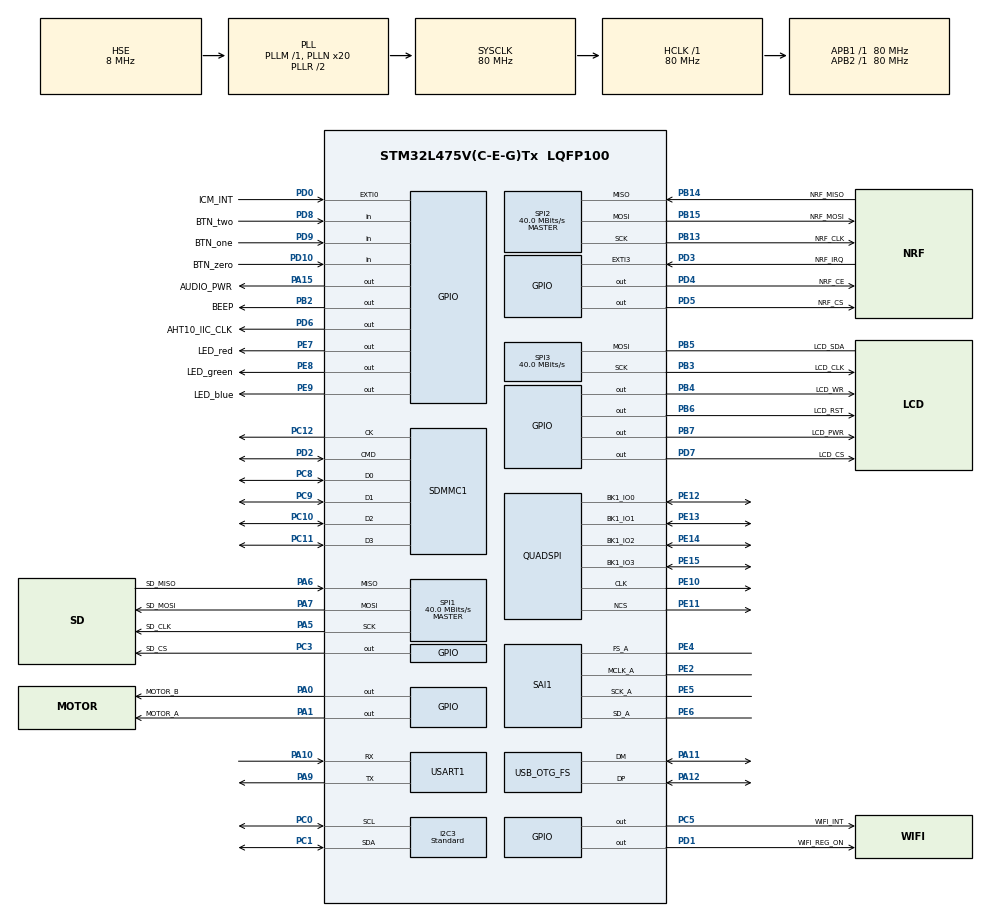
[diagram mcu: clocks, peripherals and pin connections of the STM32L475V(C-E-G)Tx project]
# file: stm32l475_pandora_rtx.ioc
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I2C3.I2C_Speed_Mode=I2C_Standard
I2C3.Timing=0x10909CEC
Mcu.Family=STM32L4
Mcu.Name=STM32L475V(C-E-G)Tx
Mcu.Package=LQFP100
NVIC.PriorityGroup=NVIC_PRIORITYGROUP_4
NVIC.TIM1_TRG_COM_TIM17_IRQn=true\:0\:0\:false\:false\:true\:false\:true
NVIC.TimeBase=TIM1_TRG_COM_TIM17_IRQn
NVIC.TimeBaseIP=TIM17
PA0.GPIO_Label=MOTOR_B
PA0.GPIO_PuPd=GPIO_PULLUP
PA0.Signal=GPIO_Output
PA1.GPIO_Label=MOTOR_A
PA1.GPIO_PuPd=GPIO_PULLUP
PA1.Signal=GPIO_Output
PA10.Mode=Asynchronous
PA10.Signal=USART1_RX
PA11.Mode=Device_Only
PA11.Signal=USB_OTG_FS_DM
PA12.Mode=Device_Only
PA12.Signal=USB_OTG_FS_DP
PA13\ (JTMS-SWDIO).Mode=Serial_Wire
PA13\ (JTMS-SWDIO).Signal=SYS_JTMS-SWDIO
PA14\ (JTCK-SWCLK).Mode=Serial_Wire
PA14\ (JTCK-SWCLK).Signal=SYS_JTCK-SWCLK
PA15\ (JTDI).GPIO_Label=AUDIO_PWR
PA15\ (JTDI).GPIO_PuPd=GPIO_PULLUP
PA15\ (JTDI).Signal=GPIO_Output
PA5.GPIO_Label=SD_CLK
PA5.Mode=Full_Duplex_Master
PA5.Signal=SPI1_SCK
PA6.GPIO_Label=SD_MISO
PA6.Mode=Full_Duplex_Master
PA6.Signal=SPI1_MISO
PA7.GPIO_Label=SD_MOSI
PA7.Mode=Full_Duplex_Master
PA7.Signal=SPI1_MOSI
PA9.Mode=Asynchronous
PA9.Signal=USART1_TX
PB13.GPIO_Label=NRF_CLK
PB13.GPIO_PuPd=GPIO_PULLUP
PB13.Mode=Full_Duplex_Master
PB13.Signal=SPI2_SCK
PB14.GPIO_Label=NRF_MISO
PB14.GPIO_PuPd=GPIO_PULLUP
PB14.Mode=Full_Duplex_Master
PB14.Signal=SPI2_MISO
PB15.GPIO_Label=NRF_MOSI
PB15.GPIO_PuPd=GPIO_PULLUP
PB15.Mode=Full_Duplex_Master
PB15.Signal=SPI2_MOSI
PB2.GPIO_Label=BEEP
PB2.GPIO_PuPd=GPIO_PULLUP
PB2.Signal=GPIO_Output
PB3\ (JTDO-TRACESWO).GPIO_Label=LCD_CLK
PB3\ (JTDO-TRACESWO).Mode=Simplex_Bidirectional_Master
PB3\ (JTDO-TRACESWO).Signal=SPI3_SCK
PB4\ (NJTRST).GPIO_Label=LCD_WR
PB4\ (NJTRST).GPIO_PuPd=GPIO_PULLUP
PB4\ (NJTRST).Signal=GPIO_Output
PB5.GPIO_Label=LCD_SDA
PB5.Mode=Simplex_Bidirectional_Master
PB5.Signal=SPI3_MOSI
PB6.GPIO_Label=LCD_RST
PB6.GPIO_PuPd=GPIO_PULLUP
PB6.Signal=GPIO_Output
PB7.GPIO_Label=LCD_PWR
PB7.GPIO_PuPd=GPIO_PULLUP
PB7.Signal=GPIO_Output
PC0.Mode=I2C
PC0.Signal=I2C3_SCL
PC1.Mode=I2C
PC1.Signal=I2C3_SDA
PC10.Mode=SD_4_bits_Wide_bus
PC10.Signal=SDMMC1_D2
PC11.Mode=SD_4_bits_Wide_bus
PC11.Signal=SDMMC1_D3
PC12.Mode=SD_4_bits_Wide_bus
PC12.Signal=SDMMC1_CK
PC13.Mode=SYS_WakeUp1
PC13.Signal=SYS_WKUP2
PC14-OSC32_IN\ (PC14).Mode=LSE-External-Oscillator
PC14-OSC32_IN\ (PC14).Signal=RCC_OSC32_IN
PC15-OSC32_OUT\ (PC15).Mode=LSE-External-Oscillator
PC15-OSC32_OUT\ (PC15).Signal=RCC_OSC32_OUT
PC3.GPIO_Label=SD_CS
PC3.GPIO_PuPd=GPIO_PULLUP
PC3.PinState=GPIO_PIN_SET
PC3.Signal=GPIO_Output
PC5.GPIO_Label=WIFI_INT
PC5.GPIO_PuPd=GPIO_PULLUP
PC5.Signal=GPIO_Output
PC8.Mode=SD_4_bits_Wide_bus
PC8.Signal=SDMMC1_D0
PC9.Mode=SD_4_bits_Wide_bus
PC9.Signal=SDMMC1_D1
PD0.GPIO_Label=ICM_INT
PD0.GPIO_PuPd=GPIO_PULLUP
PD0.Signal=GPXTI0
PD1.GPIO_Label=WIFI_REG_ON
PD1.Signal=GPIO_Output
PD10.GPIO_Label=BTN_zero
PD10.GPIO_PuPd=GPIO_PULLUP
PD10.Signal=GPIO_Input
PD2.Mode=SD_4_bits_Wide_bus
PD2.Signal=SDMMC1_CMD
PD3.GPIO_Label=NRF_IRQ
PD3.GPIO_ModeDefaultEXTI=GPIO_MODE_IT_FALLING
PD3.GPIO_PuPd=GPIO_PULLUP
PD3.Signal=GPXTI3
PD4.GPIO_Label=NRF_CE
PD4.Signal=GPIO_Output
PD5.GPIO_Label=NRF_CS
PD5.GPIO_PuPd=GPIO_PULLUP
PD5.PinState=GPIO_PIN_SET
PD5.Signal=GPIO_Output
PD6.GPIO_Label=AHT10_IIC_CLK
PD6.GPIO_PuPd=GPIO_PULLUP
PD6.GPIO_Speed=GPIO_SPEED_FREQ_VERY_HIGH
PD6.PinState=GPIO_PIN_SET
PD6.Signal=GPIO_Output
PD7.GPIO_Label=LCD_CS
PD7.GPIO_PuPd=GPIO_PULLUP
PD7.PinState=GPIO_PIN_SET
PD7.Signal=GPIO_Output
PD8.GPIO_Label=BTN_two
PD8.GPIO_PuPd=GPIO_PULLUP
PD8.Signal=GPIO_Input
PD9.GPIO_Label=BTN_one
PD9.GPIO_PuPd=GPIO_PULLUP
PD9.Signal=GPIO_Input
PE10.Mode=Single Bank
PE10.Signal=QUADSPI_CLK
PE11.Mode=Single Bank
PE11.Signal=QUADSPI_NCS
PE12.Mode=Single Bank
PE12.Signal=QUADSPI_BK1_IO0
PE13.Mode=Single Bank
PE13.Signal=QUADSPI_BK1_IO1
PE14.Mode=Single Bank
PE14.Signal=QUADSPI_BK1_IO2
PE15.Mode=Single Bank
PE15.Signal=QUADSPI_BK1_IO3
PE2.Mode=SAI_A_MasterWithClock
PE2.Signal=SAI1_MCLK_A
PE4.Mode=SAI_A_MasterWithClock
PE4.Signal=SAI1_FS_A
PE5.Mode=SAI_A_MasterWithClock
PE5.Signal=SAI1_SCK_A
PE6.Mode=SAI_A_MasterWithClock
PE6.Signal=SAI1_SD_A
PE7.GPIO_Label=LED_red
PE7.GPIO_PuPd=GPIO_PULLUP
PE7.PinState=GPIO_PIN_SET
PE7.Signal=GPIO_Output
PE8.GPIO_Label=LED_green
PE8.GPIO_ModeDefaultOutputPP=GPIO_MODE_OUTPUT_PP
PE8.GPIO_PuPd=GPIO_PULLUP
PE8.PinState=GPIO_PIN_SET
PE8.Signal=GPIO_Output
PE9.GPIO_Label=LED_blue
PE9.GPIO_PuPd=GPIO_PULLUP
PE9.PinState=GPIO_PIN_SET
PE9.Signal=GPIO_Output
PH0-OSC_IN\ (PH0).Mode=HSE-External-Oscillator
PH0-OSC_IN\ (PH0).Signal=RCC_OSC_IN
PH1-OSC_OUT\ (PH1).Mode=HSE-External-Oscillator
PH1-OSC_OUT\ (PH1).Signal=RCC_OSC_OUT
ProjectManager.HeapSize=0x200
ProjectManager.StackSize=0x400
ProjectManager.TargetToolchain=MDK-ARM V5.27
RCC.ADCFreq_Value=48000000
RCC.AHBFreq_Value=80000000
RCC.APB1Freq_Value=80000000
RCC.APB1TimFreq_Value=80000000
RCC.APB2Freq_Value=80000000
RCC.APB2TimFreq_Value=80000000
RCC.CortexFreq_Value=80000000
RCC.HCLKFreq_Value=80000000
RCC.HSE_VALUE=8000000
RCC.HSI_VALUE=16000000
RCC.MSI_VALUE=4000000
RCC.PLLN=20
RCC.PLLSAI1N=12
RCC.PLLSourceVirtual=RCC_PLLSOURCE_HSE
RCC.SYSCLKFreq_VALUE=80000000
RCC.SYSCLKSource=RCC_SYSCLKSOURCE_PLLCLK
RCC.USBFreq_Value=48000000
RCC.VCOOutputFreq_Value=160000000
SAI1.ErrorAudioFreq-SAI_A_MasterWithClock=-81.39 %
SAI1.Instance-SAI_A_MasterWithClock=SAI$Index_Block_A
SAI1.MClockEnable-SAI_A_MasterWithClock=SAI_MASTERCLOCK_ENABLE
SAI1.RealAudioFreq-SAI_A_MasterWithClock=35.714 KHz
SAI1.VirtualMode-SAI_A_MasterWithClock=VM_MASTER
SPI1.CalculateBaudRate=40.0 MBits/s
SPI1.Direction=SPI_DIRECTION_2LINES
SPI1.Mode=SPI_MODE_MASTER
SPI1.VirtualType=VM_MASTER
SPI2.CalculateBaudRate=40.0 MBits/s
SPI2.Direction=SPI_DIRECTION_2LINES
SPI2.Mode=SPI_MODE_MASTER
SPI2.VirtualType=VM_MASTER
SPI3.CalculateBaudRate=40.0 MBits/s
SPI3.Direction=SPI_DIRECTION_1LINE
SPI3.Mode=SPI_MODE_MASTER
SPI3.VirtualType=VM_MASTER
USART1.VirtualMode-Asynchronous=VM_ASYNC
USB_OTG_FS.VirtualMode=Device_Only
VP_SYS_VS_tim17.Mode=TIM17
board=custom

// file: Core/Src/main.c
/* USER CODE BEGIN Header */
/**
  ******************************************************************************
  * @file           : main.c
  * @brief          : Main program body
  ******************************************************************************
  * @attention
  *
  * <h2><center>&copy; Copyright (c) 2021 STMicroelectronics.
  * All rights reserved.</center></h2>
  *
  * This software component is licensed by ST under BSD 3-Clause license,
  * the "License"; You may not use this file except in compliance with the
  * License. You may obtain a copy of the License at:
  *                        opensource.org/licenses/BSD-3-Clause
  *
  ******************************************************************************
  */
/* USER CODE END Header */
#include "main.h"
#include "i2c.h"
#include "quadspi.h"
#include "sai.h"
#include "sdmmc.h"
#include "spi.h"
#include "usart.h"
#include "usb_otg.h"
#include "gpio.h"

/* USER CODE BEGIN Includes */
#include "config.h"
#include "cmsis_os2.h"
#include "aht10.h"
#include "st7789v2.h"

#include "lvgl.h"
#include "tft_lvgl_layer.h"
#include "gui.h"
#include "lv_example_style.h"
#include "lv_example_get_started.h"
#include "lv_example_widgets.h"

#include <string.h>
#include <stdlib.h>
#include <stdio.h>
/* USER CODE END Includes */

/* USER CODE BEGIN PV */
static osMessageQueueId_t th2gui_msg_id;
/* USER CODE END PV */

void SystemClock_Config(void);
/* USER CODE BEGIN PFP */
void HAL_init_systick_for_RTX(void);
/* USER CODE END PFP */

/* USER CODE BEGIN 0 */
void led_blink_task(void *argv)
{
    (void)(argv);
	while (1) {
		HAL_GPIO_WritePin(LED_red_GPIO_Port, LED_red_Pin, GPIO_PIN_RESET);
		osDelay(500);
		HAL_GPIO_WritePin(LED_red_GPIO_Port, LED_red_Pin, GPIO_PIN_SET);
		osDelay(500);
	}
}

void temp_humi_smaple_task(void *argv)
{
    (void)(argv);
    uint16_t msg[2] = {0};
	aht10_t aht10;

	// Wait sensor start work
	osDelay(2000);

	aht10_init(&aht10);

	while (1) {
        // Smaple period
        osDelay(1000);
		aht10_get_value(&aht10);

        // Put data to message queue
        msg[0] = aht10.temp;
        msg[1] = aht10.humi;
        if (msg[0] == 0 || msg[1] == 0)
           osThreadYield();
        osStatus_t res = osMessageQueuePut(th2gui_msg_id, msg, 0, 0);
        if (res != osOK) {
            __nop();
        }
        osThreadYield();
	}
}

void lcd_display_task(void *argv)
{
    st7789_init();
    for ( ;; ) {
        st7789_fill_color(COLOR_BLUE);
        osDelay(1000);
        st7789_fill_color(COLOR_BRED);
        osDelay(1000);
        st7789_fill_color(COLOR_CYAN);
        osDelay(1000);
    }
}

void gui_task(void *argv)
{
    (void)(argv);
    lv_obj_t *lb_temp, *lb_humi;
    lv_obj_t *img_temp, *img_humi;
    osStatus_t status;
    uint16_t msg[2] = {0};

    lv_init();
    tft_lvgl_layer_init();

    gui_draw_temp_humi_icon_img(&img_temp, &img_humi);
    gui_set_temp_humi_val_lb(&lb_temp, img_temp, &lb_humi, img_humi);

    for (;;)
    {
        status = osMessageQueueGet(th2gui_msg_id, msg, NULL, 5);
        if (status == osOK) {
            gui_temp_humi_val_update(lb_temp, lb_humi, msg);
        }
        lv_task_handler();
    }
}
/* USER CODE END 0 */

int main(void)
{

  /* MCU Configuration--------------------------------------------------------*/

  /* Reset of all peripherals, Initializes the Flash interface and the Systick. */
  HAL_Init();

  /* Configure the system clock */
  SystemClock_Config();

  /* Initialize all configured peripherals */
  MX_GPIO_Init();
  MX_I2C3_Init();
  MX_QUADSPI_Init();
  MX_SAI1_Init();
  MX_SDMMC1_SD_Init();
  MX_SPI1_Init();
  MX_SPI2_Init();
  MX_SPI3_Init();
  MX_USART1_UART_Init();
  MX_USB_OTG_FS_PCD_Init();
  /* USER CODE BEGIN 2 */

  // HAL_init_systick_for_RTX();

#if TEST_RTX_RTOS == 1
  // Initialize CMSIS-RTOS
  osKernelInitialize();

  // Create message queue for GUI and temperature and humidy smaple task
  th2gui_msg_id = osMessageQueueNew(2, 2*sizeof(uint16_t), NULL);
  if (th2gui_msg_id == NULL) {
      for (;;);
  }
  // Create tasks
  osThreadNew(led_blink_task, NULL, NULL);

  osThreadNew(temp_humi_smaple_task, NULL, NULL);
//   osTimerId_t th_timer_id = osTimerNew(temp_humi_smaple_task, osTimerPeriodic, (void *)th2gui_msg_id, NULL);
//   if (th_timer_id != NULL) {
//       if (osTimerStart(th_timer_id, 500) != osOK) {
//           for (;;) ;
//       }
//   }

#if TEST_ST7789_DRIVER == 1
  osThreadNew(lcd_display_task, NULL, NULL);
#endif

#if TEST_LVGL_LIB == 1
  osThreadNew(gui_task, NULL, NULL);
#endif

  // Start task excution
  osKernelStart();

#endif

  /* USER CODE END 2 */

  /* Infinite loop */
  /* USER CODE BEGIN WHILE */

#if TEST_ST7789_DRIVER == 1
  st7789_init();
#endif

#if (TEST_LVGL_LIB == 1) && (TEST_RTX_RTOS == 0)
    lv_init();
    tft_lvgl_layer_init();
    lv_example_get_started_1();
    lv_example_get_started_3();
#endif

  while (1)
  {
    /* USER CODE END WHILE */
#if TEST_ST7789_DRIVER == 1
        st7789_fill_color(COLOR_BLUE);
        HAL_Delay(50);
        st7789_fill_color(COLOR_BRED);
        HAL_Delay(50);
        st7789_fill_color(COLOR_CYAN);
        HAL_Delay(50);
        st7789_fill_color(COLOR_YELLOW);
        HAL_Delay(50);
        st7789_draw_line(50, 70, 200, 70);
        st7789_draw_line(10, 70, 10, 120);
        st7789_draw_line(100, 20, 120, 50);
        st7789_draw_rectangle(50, 80, 200, 160);
        st7789_draw_line(50, 80, 200, 160);
        st7789_draw_line(50, 160, 200, 80);
        for (int i = 0; i < 20; ++i)
            st7789_draw_point(200+i, 200, COLOR_GBLUE);
        HAL_Delay(1000);
#endif
#if (TEST_LVGL_LIB == 1) && (TEST_RTX_RTOS == 0)
      HAL_Delay(2);
      lv_task_handler();
#endif
  }
}

void SystemClock_Config(void)
{
  RCC_OscInitTypeDef RCC_OscInitStruct = {0};
  RCC_ClkInitTypeDef RCC_ClkInitStruct = {0};
  RCC_PeriphCLKInitTypeDef PeriphClkInit = {0};

  /** Initializes the RCC Oscillators according to the specified parameters
  * in the RCC_OscInitTypeDef structure.
  */
  RCC_OscInitStruct.OscillatorType = RCC_OSCILLATORTYPE_HSE;
  RCC_OscInitStruct.HSEState = RCC_HSE_ON;
  RCC_OscInitStruct.PLL.PLLState = RCC_PLL_ON;
  RCC_OscInitStruct.PLL.PLLSource = RCC_PLLSOURCE_HSE;
  RCC_OscInitStruct.PLL.PLLM = 1;
  RCC_OscInitStruct.PLL.PLLN = 20;
  RCC_OscInitStruct.PLL.PLLP = RCC_PLLP_DIV7;
  RCC_OscInitStruct.PLL.PLLQ = RCC_PLLQ_DIV2;
  RCC_OscInitStruct.PLL.PLLR = RCC_PLLR_DIV2;
  if (HAL_RCC_OscConfig(&RCC_OscInitStruct) != HAL_OK)
  {
    Error_Handler();
  }
  /** Initializes the CPU, AHB and APB buses clocks
  */
  RCC_ClkInitStruct.ClockType = RCC_CLOCKTYPE_HCLK|RCC_CLOCKTYPE_SYSCLK
                              |RCC_CLOCKTYPE_PCLK1|RCC_CLOCKTYPE_PCLK2;
  RCC_ClkInitStruct.SYSCLKSource = RCC_SYSCLKSOURCE_PLLCLK;
  RCC_ClkInitStruct.AHBCLKDivider = RCC_SYSCLK_DIV1;
  RCC_ClkInitStruct.APB1CLKDivider = RCC_HCLK_DIV1;
  RCC_ClkInitStruct.APB2CLKDivider = RCC_HCLK_DIV1;

  if (HAL_RCC_ClockConfig(&RCC_ClkInitStruct, FLASH_LATENCY_4) != HAL_OK)
  {
    Error_Handler();
  }
  PeriphClkInit.PeriphClockSelection = RCC_PERIPHCLK_USART1|RCC_PERIPHCLK_SAI1
                              |RCC_PERIPHCLK_I2C3|RCC_PERIPHCLK_USB
                              |RCC_PERIPHCLK_SDMMC1;
  PeriphClkInit.Usart1ClockSelection = RCC_USART1CLKSOURCE_PCLK2;
  PeriphClkInit.I2c3ClockSelection = RCC_I2C3CLKSOURCE_PCLK1;
  PeriphClkInit.Sai1ClockSelection = RCC_SAI1CLKSOURCE_PLLSAI1;
  PeriphClkInit.UsbClockSelection = RCC_USBCLKSOURCE_PLLSAI1;
  PeriphClkInit.Sdmmc1ClockSelection = RCC_SDMMC1CLKSOURCE_PLLSAI1;
  PeriphClkInit.PLLSAI1.PLLSAI1Source = RCC_PLLSOURCE_HSE;
  PeriphClkInit.PLLSAI1.PLLSAI1M = 1;
  PeriphClkInit.PLLSAI1.PLLSAI1N = 12;
  PeriphClkInit.PLLSAI1.PLLSAI1P = RCC_PLLP_DIV7;
  PeriphClkInit.PLLSAI1.PLLSAI1Q = RCC_PLLQ_DIV2;
  PeriphClkInit.PLLSAI1.PLLSAI1R = RCC_PLLR_DIV2;
  PeriphClkInit.PLLSAI1.PLLSAI1ClockOut = RCC_PLLSAI1_SAI1CLK|RCC_PLLSAI1_48M2CLK;
  if (HAL_RCCEx_PeriphCLKConfig(&PeriphClkInit) != HAL_OK)
  {
    Error_Handler();
  }
  /** Configure the main internal regulator output voltage
  */
  if (HAL_PWREx_ControlVoltageScaling(PWR_REGULATOR_VOLTAGE_SCALE1) != HAL_OK)
  {
    Error_Handler();
  }
}

/* USER CODE BEGIN 4 */

// Init SystemTick
void HAL_init_systick_for_RTX(void)
{
    uint32_t sysclk = HAL_RCC_GetSysClockFreq();
    SysTick_Config(sysclk/1000);
    HAL_NVIC_SetPriority(SysTick_IRQn, 0, 0U);
}

/* USER CODE END 4 */

void HAL_TIM_PeriodElapsedCallback(TIM_HandleTypeDef *htim)
{
  if (htim->Instance == TIM17) {
    HAL_IncTick();
  }
  /* USER CODE BEGIN Callback 1 */
  if (htim->Instance == TIM17) {
    // LVGL tick need incerase in SystemTick(TIM17) handler
    lv_tick_inc(1);
  }
  /* USER CODE END Callback 1 */
}

void Error_Handler(void)
{
}

/************************ (C) COPYRIGHT STMicroelectronics *****END OF FILE****/
